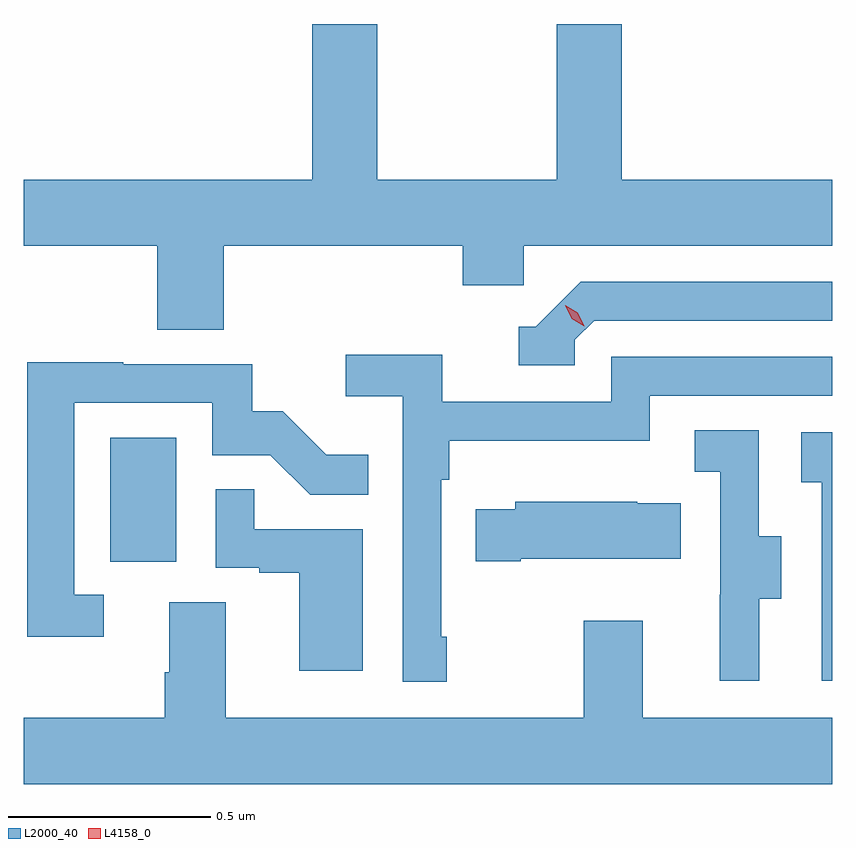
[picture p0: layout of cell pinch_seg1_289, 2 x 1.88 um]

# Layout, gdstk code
import gdstk
lib = gdstk.Library(unit=1e-6, precision=1e-09)
def R(c, l, rs):  # rectangles x0, y0, x1, y1
    for r in rs: c.add(gdstk.rectangle(r[:2], r[2:], *l))
def P(c, l, *ps):  # polygons
    for p in ps: c.add(gdstk.Polygon(p, *l))
L2000_40 = (2000, 40)
L4158_0 = (4158, 0)

pinch_seg1_289 = lib.new_cell('pinch_seg1_289')
R(pinch_seg1_289, L2000_40, [(902.36,561.606,902.524,561.913)])
P(pinch_seg1_289, L2000_40, [(902.642,562.388),(903.233,562.388),(903.233,562.29),(903.384,562.29),(903.384,562.388),(904.147,562.388),(904.147,562.552),(903.626,562.552),(903.626,562.937),(903.466,562.937),(903.466,562.552),(903.021,562.552),(903.021,562.937),(902.861,562.937),(902.861,562.552),(902.147,562.552),(902.147,562.388),(902.477,562.388),(902.477,562.18),(902.642,562.18)],
  [(903.51,562.155),(903.558,562.203),(904.147,562.203),(904.147,562.299),(903.525,562.299),(903.414,562.188),(903.371,562.188),(903.371,562.092),(903.51,562.092)],
  [(903.193,561.421),(903.18,561.421),(903.18,561.809),(903.2,561.809),(903.2,561.905),(903.696,561.905),(903.696,562.017),(904.147,562.017),(904.147,562.113),(903.6,562.113),(903.6,562.002),(903.182,562.002),(903.182,562.118),(902.943,562.118),(902.943,562.016),(903.084,562.016),(903.084,561.309),(903.193,561.309)],
  [(902.344,561.525),(902.271,561.525),(902.271,561.999),(902.613,561.999),(902.613,561.87),(902.757,561.87),(902.855,561.772),(902.999,561.772),(902.999,561.871),(902.895,561.871),(902.788,561.978),(902.712,561.978),(902.712,562.095),(902.393,562.095),(902.393,562.1),(902.155,562.1),(902.155,561.42),(902.344,561.42)],
  [(903.967,561.514),(904.021,561.514),(904.021,561.669),(903.966,561.669),(903.966,561.932),(903.807,561.932),(903.807,561.829),(903.87,561.829),(903.87,561.525),(903.869,561.525),(903.869,561.312),(903.967,561.312)],
  [(904.147,561.927),(904.071,561.927),(904.071,561.803),(904.122,561.803),(904.122,561.312),(904.147,561.312)],
  [(902.986,561.687),(902.717,561.687),(902.717,561.785),(902.622,561.785),(902.622,561.591),(902.729,561.591),(902.729,561.579),(902.828,561.579),(902.828,561.336),(902.986,561.336)],
  [(903.376,561.614),(903.773,561.614),(903.773,561.751),(903.665,561.751),(903.665,561.754),(903.363,561.754),(903.363,561.736),(903.265,561.736),(903.265,561.607),(903.376,561.607)],
  [(904.147,561.22),(903.679,561.22),(903.679,561.46),(903.532,561.46),(903.532,561.22),(902.647,561.22),(902.647,561.506),(902.507,561.506),(902.507,561.332),(902.495,561.332),(902.495,561.22),(902.147,561.22),(902.147,561.056),(904.147,561.056)])
P(pinch_seg1_289, L4158_0, [(903.534,562.189),(903.503,562.208),(903.487,562.241),(903.487,562.241),(903.487,562.241),(903.518,562.222),(903.534,562.19),(903.534,562.189)])

lib.write_gds('pinch_seg1_289.gds')
